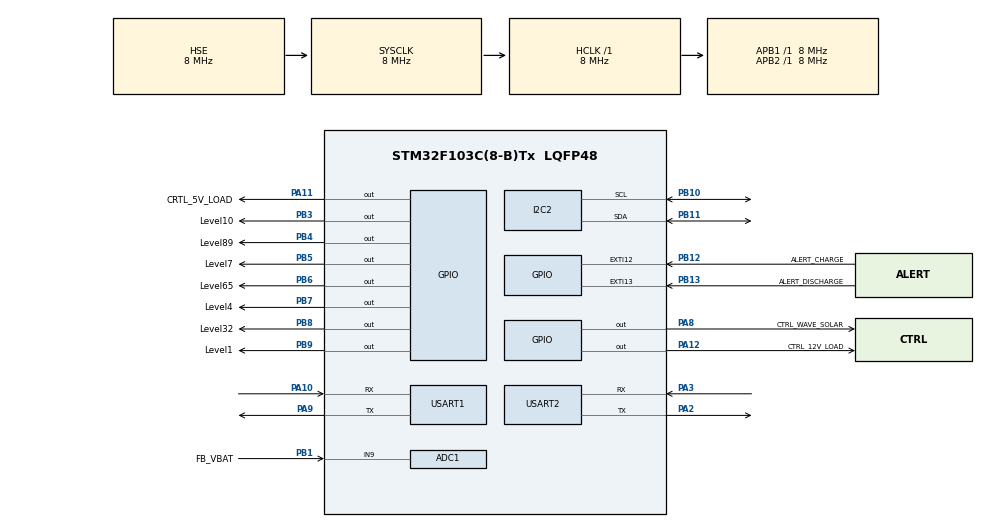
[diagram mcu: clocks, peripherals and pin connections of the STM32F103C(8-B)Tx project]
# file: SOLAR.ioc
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Mcu.Family=STM32F1
PB10.Mode=I2C
ADC1.ContinuousConvMode=ENABLE
PB6.GPIO_Label=Level65
PA11.GPIO_PuPd=GPIO_PULLUP
PB13.GPIO_Label=ALERT_DISCHARGE
PB11.Signal=I2C2_SDA
PB13.Signal=GPXTI13
RCC.SYSCLKSource=RCC_SYSCLKSOURCE_HSE
ProjectManager.StackSize=0x400
PD1-OSC_OUT.Signal=RCC_OSC_OUT
PA12.Signal=GPIO_Output
RCC.HCLKFreq_Value=8000000
RCC.APB2TimFreq_Value=8000000
PB6.Signal=GPIO_Output
RCC.AHBFreq_Value=8000000
NVIC.EXTI15_10_IRQn=true\:0\:0\:false\:false\:true\:true\:true
PA12.PinState=GPIO_PIN_SET
RCC.PLLMUL=RCC_PLL_MUL7
PB12.GPIO_Label=ALERT_CHARGE
PA14.Mode=Serial_Wire
PB1.GPIO_Label=FB_VBAT
NVIC.TIM2_IRQn=true\:1\:0\:true\:false\:true\:true\:true
PB7.Signal=GPIO_Output
PA8.Signal=GPIO_Output
PB7.GPIO_Label=Level4
PB9.Signal=GPIO_Output
Mcu.Package=LQFP48
TIM2.Prescaler=7999
PB1.Signal=ADCx_IN9
USART2.VirtualMode=VM_ASYNC
PA10.Signal=USART1_RX
SH.ADCx_IN9.0=ADC1_IN9,IN9
PB5.GPIO_Label=Level7
RCC.APB1TimFreq_Value=8000000
NVIC.USART1_IRQn=true\:1\:0\:true\:false\:true\:true\:true
PA12.GPIO_PuPd=GPIO_PULLDOWN
PA8.PinState=GPIO_PIN_RESET
PB4.Signal=GPIO_Output
PA3.Signal=USART2_RX
PB3.GPIO_Label=Level10
RCC.PLLSourceVirtual=RCC_PLLSOURCE_HSE
PD1-OSC_OUT.Mode=HSE-External-Oscillator
PB9.GPIO_Label=Level1
PA10.Mode=Asynchronous
PA11.GPIO_Label=CRTL_5V_LOAD
PD0-OSC_IN.Signal=RCC_OSC_IN
PB13.GPIO_ModeDefaultEXTI=GPIO_MODE_IT_FALLING
NVIC.USART2_IRQn=true\:1\:0\:true\:false\:true\:true\:true
PA12.GPIO_Label=CTRL_12V_LOAD
PA13.Signal=SYS_JTMS-SWDIO
PA3.Mode=Asynchronous
PB8.GPIO_Label=Level32
PA9.Mode=Asynchronous
PA8.GPIO_Label=CTRL_WAVE_SOLAR
PB11.Mode=I2C
ProjectManager.TargetToolchain=MDK-ARM V5
PA9.Signal=USART1_TX
ADC1.Channel-1\#ChannelRegularConversion=ADC_CHANNEL_9
NVIC.I2C2_ER_IRQn=true\:0\:0\:false\:false\:true\:true\:true
RCC.USBFreq_Value=56000000
PD0-OSC_IN.Mode=HSE-External-Oscillator
PB10.Signal=I2C2_SCL
board=custom
PB13.GPIO_PuPd=GPIO_PULLUP
RCC.APB2Freq_Value=8000000
PB4.GPIO_Label=Level89
VP_TIM2_VS_ClockSourceINT.Mode=Internal
TIM2.Period=999
ADC1.NbrOfConversion=1
PA13.Mode=Serial_Wire
Mcu.Name=STM32F103C(8-B)Tx
PA2.Signal=USART2_TX
PB3.Signal=GPIO_Output
ADC1.SamplingTime-1\#ChannelRegularConversion=ADC_SAMPLETIME_7CYCLES_5
RCC.SYSCLKFreq_VALUE=8000000
PB5.Signal=GPIO_Output
ADC1.master=1
USART1.VirtualMode=VM_ASYNC
ADC1.Rank-1\#ChannelRegularConversion=1
PA11.Signal=GPIO_Output
PA14.Signal=SYS_JTCK-SWCLK
ProjectManager.HeapSize=0x200
NVIC.I2C2_EV_IRQn=true\:0\:0\:false\:false\:true\:true\:true
PA8.GPIO_PuPd=GPIO_PULLUP
NVIC.PriorityGroup=NVIC_PRIORITYGROUP_4
ADC1.NbrOfConversionFlag=1
PA2.Mode=Asynchronous
PB8.Signal=GPIO_Output
PA11.PinState=GPIO_PIN_SET
RCC.APB1Freq_Value=8000000
PB12.Signal=GPXTI12

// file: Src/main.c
/* USER CODE BEGIN Header */
/**
  ******************************************************************************
  * @file           : main.c
  * @brief          : Main program body
  ******************************************************************************
  * @attention
  *
  * <h2><center>&copy; Copyright (c) 2020 STMicroelectronics.
  * All rights reserved.</center></h2>
  *
  * This software component is licensed by ST under BSD 3-Clause license,
  * the "License"; You may not use this file except in compliance with the
  * License. You may obtain a copy of the License at:
  *                        opensource.org/licenses/BSD-3-Clause
  *
  ******************************************************************************
  */
/* USER CODE END Header */
#include "main.h"
#include "adc.h"
#include "i2c.h"
#include "tim.h"
#include "usart.h"
#include "gpio.h"

/* USER CODE BEGIN Includes */
#include "DisplayLevel.h"
#include "ControlFunction.h"
#include "CommandProces.h"
#include "Ina226.h"
#include "stdio.h"
/* USER CODE END Includes */

/* USER CODE BEGIN PV */
extern float Vadap;
extern float Vdischarge;
extern float Idischarge;
extern float Pdischarge;
extern float Icharge;
extern float Pcharge;
extern uint8_t LightStatus;
extern uint8_t CurrentSource ;
float Vshunt=0;
int16_t VshuntReg =0;
int16_t IdischarReg=0;
uint16_t PowerReg =0;
uint8_t adress=0;
uint8_t FlagLoad=0;

extern char buffer[100]; //Khai bao mang buffer 100 phan tu
int len; //Khai bao bien len tuong ung voi chieu dai
char Rx_indx, Rx_data[2], Transfer_cplt;
extern char Rx_Buffer[100];
/* USER CODE END PV */

void SystemClock_Config(void);

/* USER CODE BEGIN 0 */
void HAL_UART_RxCpltCallback(UART_HandleTypeDef *huart)
{
	uint8_t i;
	//static char data=0;
	if (huart-> Instance == USART2) // UART hien tai la uart3
	{
		if (Rx_indx==0) {for (i=0;i<100;i++) Rx_Buffer[i]=0;} // xoa Rx_Buffer truoc khi nhan du lieu

		if (Rx_data[0] !=13) // Neu du lieu nhan duoc khac voi 13 ( enter )
		{
			Rx_Buffer[Rx_indx++]=Rx_data[0];
//			if( (data=='@')&& (Rx_data[0]!='@')) Rx_Buffer[Rx_indx++]=Rx_data[0];
//			if ( (data==0)&& (Rx_data[0]=='@')) { data='@';} // Them du lieu vao Rx_Buffer
		}
		else // Neu phihm enter duoc nhan
		{
			Rx_indx =0 ;  // Dua indx ve 0
			Transfer_cplt =1 ; // Qua tring truyen hoan tat, du lieu da san sang de doc
		}
		HAL_UART_Receive_IT(&huart2 , (uint8_t *)&Rx_data, 1); //Kich hoat Uart nhan du lieu ngat moi luc
	}
}
/* USER CODE END 0 */

int main(void)
{

  /* MCU Configuration--------------------------------------------------------*/

  /* Reset of all peripherals, Initializes the Flash interface and the Systick. */
  HAL_Init();

  /* Configure the system clock */
  SystemClock_Config();

  /* Initialize all configured peripherals */
  MX_GPIO_Init();
  MX_ADC1_Init();
  MX_I2C2_Init();
  MX_USART1_UART_Init();
  MX_USART2_UART_Init();
  MX_TIM2_Init();
  /* USER CODE BEGIN 2 */
	HAL_ADC_Start(&hadc1);
	HAL_TIM_Base_Start_IT(&htim2);
	HAL_GPIO_WritePin(GPIOB,Level1_Pin,GPIO_PIN_RESET);
	HAL_GPIO_WritePin(GPIOB,Level32_Pin,GPIO_PIN_RESET);
	HAL_GPIO_WritePin(GPIOB,Level4_Pin,GPIO_PIN_RESET);
	HAL_GPIO_WritePin(GPIOB,Level65_Pin,GPIO_PIN_RESET);
	HAL_GPIO_WritePin(GPIOB,Level7_Pin,GPIO_PIN_RESET);
	HAL_GPIO_WritePin(GPIOB,Level89_Pin,GPIO_PIN_RESET);
	HAL_GPIO_WritePin(GPIOB,Level10_Pin,GPIO_PIN_RESET);
	TurnOffShowLevel();
	//I2C_HandleTypeDef I2c1Handle;
	// Set Config Register
	INA226_setConfig(&hi2c2, INA226_ADDRESS_CHARGE, INA226_MODE_CONT_SHUNT_AND_BUS|INA226_VBUS_140uS|INA226_AVG_1024);
	// Set Alert Limit Register ( 6400 = 0x1900 )
	INA226_setAlertLimit (&hi2c2, INA226_ADDRESS_DISCHARGE,INA226_Vdischar_UnderVoltage_AlertLimit);
	// Set  Discharge Voltage Under-Voltage ( 8V )
	INA226_setMaskEnable(&hi2c2,INA226_ADDRESS_DISCHARGE, INA226_MER_BUL);
	// Bat ngat uart
	HAL_UART_Receive_IT(&huart2,(uint8_t *)Rx_data,1); // Kich hoat ngat uart khi nhan duoc 1 byte
  CurrentSource=1;
	/* USER CODE END 2 */

  /* Infinite loop */
  /* USER CODE BEGIN WHILE */
	//HAL_Delay(1000);
  while (1)
  {
    /* USER CODE END WHILE */

    /* USER CODE BEGIN 3 */
		if ((HAL_GPIO_ReadPin(GPIOB,ALERT_DISCHARGE_Pin) == 1)&&(FlagLoad==1))
		{
			//printf("Da bat alert va tat\r\n");
			FlagLoad =0;
			HAL_GPIO_WritePin(GPIOA,CRTL_5V_LOAD_Pin,GPIO_PIN_SET);
			HAL_GPIO_WritePin(GPIOA,CTRL_12V_LOAD_Pin,GPIO_PIN_SET);
		}
		else
		{
//			char str[] = "Hello world\r\n";
//			HAL_UART_Transmit(&huart2,(uint8_t *)&str,sizeof(str),100);
//			printf("Hello world\r\n");
//			HAL_Delay(1000);
			if (Transfer_cplt)
			{

//			sprintf(buffer,"%s\r\n",Rx_Buffer)
				PreProces();
				MainProce();
// 			printf("%s\r\n",buffer);
				Transfer_cplt =0;
			}
		}
  }

  /* USER CODE END 3 */
}

void SystemClock_Config(void)
{
  RCC_OscInitTypeDef RCC_OscInitStruct = {0};
  RCC_ClkInitTypeDef RCC_ClkInitStruct = {0};
  RCC_PeriphCLKInitTypeDef PeriphClkInit = {0};

  /** Initializes the RCC Oscillators according to the specified parameters
  * in the RCC_OscInitTypeDef structure.
  */
  RCC_OscInitStruct.OscillatorType = RCC_OSCILLATORTYPE_HSE;
  RCC_OscInitStruct.HSEState = RCC_HSE_ON;
  RCC_OscInitStruct.PLL.PLLState = RCC_PLL_NONE;
  if (HAL_RCC_OscConfig(&RCC_OscInitStruct) != HAL_OK)
  {
    Error_Handler();
  }
  /** Initializes the CPU, AHB and APB buses clocks
  */
  RCC_ClkInitStruct.ClockType = RCC_CLOCKTYPE_HCLK|RCC_CLOCKTYPE_SYSCLK
                              |RCC_CLOCKTYPE_PCLK1|RCC_CLOCKTYPE_PCLK2;
  RCC_ClkInitStruct.SYSCLKSource = RCC_SYSCLKSOURCE_HSE;
  RCC_ClkInitStruct.AHBCLKDivider = RCC_SYSCLK_DIV1;
  RCC_ClkInitStruct.APB1CLKDivider = RCC_HCLK_DIV1;
  RCC_ClkInitStruct.APB2CLKDivider = RCC_HCLK_DIV1;

  if (HAL_RCC_ClockConfig(&RCC_ClkInitStruct, FLASH_LATENCY_0) != HAL_OK)
  {
    Error_Handler();
  }
  PeriphClkInit.PeriphClockSelection = RCC_PERIPHCLK_ADC;
  PeriphClkInit.AdcClockSelection = RCC_ADCPCLK2_DIV2;
  if (HAL_RCCEx_PeriphCLKConfig(&PeriphClkInit) != HAL_OK)
  {
    Error_Handler();
  }
}

/* USER CODE BEGIN 4 */
	_ARMABI int fputc(int c, FILE *stream)
{
		HAL_UART_Transmit(&huart2, (uint8_t *) &c,1,100);
		return 0;
}
void HAL_TIM_PeriodElapsedCallback(TIM_HandleTypeDef *htim)
{
		if  (htim->Instance == TIM2)
		{

				if ( FlagLoad ==1 )
				{

					HAL_GPIO_TogglePin(GPIOB,Level1_Pin);
					HAL_GPIO_WritePin(GPIOB,Level32_Pin,GPIO_PIN_RESET);
					HAL_GPIO_WritePin(GPIOB,Level4_Pin,GPIO_PIN_RESET);
					HAL_GPIO_WritePin(GPIOB,Level65_Pin,GPIO_PIN_RESET);
					HAL_GPIO_WritePin(GPIOB,Level7_Pin,GPIO_PIN_RESET);
					HAL_GPIO_WritePin(GPIOB,Level89_Pin,GPIO_PIN_RESET);
					HAL_GPIO_WritePin(GPIOB,Level10_Pin,GPIO_PIN_RESET);
				}
				else TurnOnShowLevel();
		}
}
void HAL_GPIO_EXTI_Callback(uint16_t GPIO_Pin)
{
		if (GPIO_Pin == ALERT_DISCHARGE_Pin)
		{
				HAL_GPIO_WritePin(GPIOA,CRTL_5V_LOAD_Pin,GPIO_PIN_RESET);
				HAL_GPIO_WritePin(GPIOA,CTRL_12V_LOAD_Pin,GPIO_PIN_RESET);
				FlagLoad =1;
				//printf("Da bat alert\r\n");

		}
}
/* USER CODE END 4 */

void Error_Handler(void)
{
}

/************************ (C) COPYRIGHT STMicroelectronics *****END OF FILE****/
